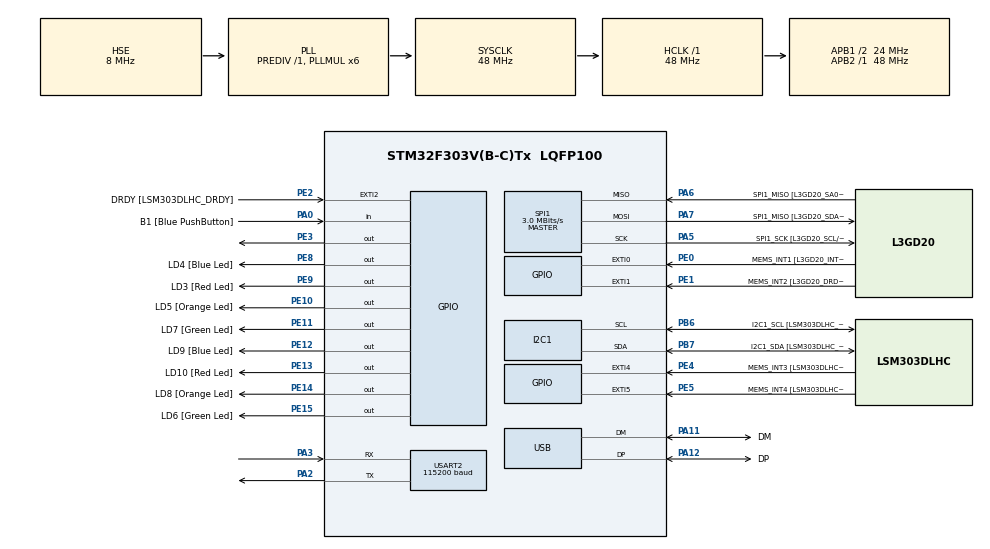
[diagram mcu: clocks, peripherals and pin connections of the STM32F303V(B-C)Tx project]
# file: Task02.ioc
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I2C1.Timing=0x2000090E
I2C1.Timing-I2C=0x2000090E
Mcu.Family=STM32F3
Mcu.Name=STM32F303V(B-C)Tx
Mcu.Package=LQFP100
NVIC.PriorityGroup=NVIC_PRIORITYGROUP_0
NVIC.SPI1_IRQn=true\:0\:0\:false\:false\:true\:true\:true\:true
PA0.GPIO_Label=B1 [Blue PushButton]
PA0.Signal=GPIO_Input
PA11.GPIO_Label=DM
PA11.Mode=Device
PA11.Signal=USB_DM
PA12.GPIO_Label=DP
PA12.Mode=Device
PA12.Signal=USB_DP
PA13.GPIO_Label=SWDIO
PA13.Mode=Serial_Wire
PA13.Signal=SYS_JTMS-SWDIO
PA14.GPIO_Label=SWCLK
PA14.Mode=Serial_Wire
PA14.Signal=SYS_JTCK-SWCLK
PA2.Mode=Asynchronous
PA2.Signal=USART2_TX
PA3.Mode=Asynchronous
PA3.Signal=USART2_RX
PA5.GPIO_Label=SPI1_SCK [L3GD20_SCL/SPC]
PA5.Mode=Full_Duplex_Master
PA5.Signal=SPI1_SCK
PA6.GPIO_Label=SPI1_MISO [L3GD20_SA0/SDO]
PA6.Mode=Full_Duplex_Master
PA6.Signal=SPI1_MISO
PA7.GPIO_Label=SPI1_MISO [L3GD20_SDA/SDI/SDO]
PA7.Mode=Full_Duplex_Master
PA7.Signal=SPI1_MOSI
PB3.GPIO_Label=SWO
PB3.Signal=SYS_JTDO-TRACESWO
PB6.GPIO_Label=I2C1_SCL [LSM303DLHC_SCL]
PB6.GPIO_Pu=GPIO_PULLUP
PB6.Mode=I2C
PB6.Signal=I2C1_SCL
PB7.GPIO_Label=I2C1_SDA [LSM303DLHC_SDA]
PB7.GPIO_Pu=GPIO_PULLUP
PB7.Mode=I2C
PB7.Signal=I2C1_SDA
PC14-OSC32_IN.GPIO_Label=OSC32_IN
PC14-OSC32_IN.Signal=RCC_OSC32_IN
PC15-OSC32_OUT.GPIO_Label=OSC32_OUT
PC15-OSC32_OUT.Signal=RCC_OSC32_OUT
PE0.GPIO_Label=MEMS_INT1 [L3GD20_INT1]
PE0.GPIO_ModeDefaultEXTI=GPIO_MODE_EVT_RISING
PE0.Signal=GPXTI0
PE1.GPIO_Label=MEMS_INT2 [L3GD20_DRDY/INT2]
PE1.GPIO_ModeDefaultEXTI=GPIO_MODE_EVT_RISING
PE1.Signal=GPXTI1
PE10.GPIO_Label=LD5 [Orange Led]
PE10.Signal=GPIO_Output
PE11.GPIO_Label=LD7 [Green Led]
PE11.Signal=GPIO_Output
PE12.GPIO_Label=LD9 [Blue Led]
PE12.Signal=GPIO_Output
PE13.GPIO_Label=LD10 [Red Led]
PE13.Signal=GPIO_Output
PE14.GPIO_Label=LD8 [Orange Led]
PE14.Signal=GPIO_Output
PE15.GPIO_Label=LD6 [Green Led]
PE15.Signal=GPIO_Output
PE2.GPIO_Label=DRDY [LSM303DLHC_DRDY]
PE2.GPIO_ModeDefaultEXTI=GPIO_MODE_EVT_RISING
PE2.Signal=GPXTI2
PE3.Signal=GPIO_Output
PE4.GPIO_Label=MEMS_INT3 [LSM303DLHC_INT1]
PE4.GPIO_ModeDefaultEXTI=GPIO_MODE_EVT_RISING
PE4.Signal=GPXTI4
PE5.GPIO_Label=MEMS_INT4 [LSM303DLHC_INT2]
PE5.GPIO_ModeDefaultEXTI=GPIO_MODE_EVT_RISING
PE5.Signal=GPXTI5
PE8.GPIO_Label=LD4 [Blue Led]
PE8.Signal=GPIO_Output
PE9.GPIO_Label=LD3 [Red Led]
PE9.Signal=GPIO_Output
PF0-OSC_IN.GPIO_Label=OSC_IN
PF0-OSC_IN.Mode=HSE-External-Clock-Source
PF0-OSC_IN.Signal=RCC_OSC_IN
PF1-OSC_OUT.GPIO_Label=OSC_OUT
PF1-OSC_OUT.Signal=RCC_OSC_OUT
ProjectManager.HeapSize=0x200
ProjectManager.StackSize=0x400
ProjectManager.TargetToolchain=CMake
RCC.AHBFreq_Value=48000000
RCC.APB1CLKDivider=RCC_HCLK_DIV2
RCC.APB1Freq_Value=24000000
RCC.APB1TimFreq_Value=48000000
RCC.APB2Freq_Value=48000000
RCC.APB2TimFreq_Value=48000000
RCC.CortexFreq_Value=48000000
RCC.HCLKFreq_Value=48000000
RCC.HSE_VALUE=8000000
RCC.HSI_VALUE=8000000
RCC.LSE_VALUE=32768
RCC.PLLMUL=RCC_PLL_MUL6
RCC.SYSCLKFreq_VALUE=48000000
RCC.SYSCLKSourceVirtual=RCC_SYSCLKSOURCE_PLLCLK
RCC.USBFreq_Value=48000000
SPI1.BaudRatePrescaler=SPI_BAUDRATEPRESCALER_16
SPI1.BaudRatePrescaler-Full_Duplex_Master=SPI_BAUDRATEPRESCALER_2
SPI1.CLKPhase=SPI_PHASE_2EDGE
SPI1.CLKPolarity=SPI_POLARITY_HIGH
SPI1.CalculateBaudRate=3.0 MBits/s
SPI1.CalculateBaudRate-Full_Duplex_Master=24.0 MBits/s
SPI1.DataSize=SPI_DATASIZE_8BIT
SPI1.Direction=SPI_DIRECTION_2LINES
SPI1.Mode=SPI_MODE_MASTER
SPI1.Mode-Full_Duplex_Master=SPI_MODE_MASTER
SPI1.VirtualType=VM_MASTER
USART2.BaudRate=115200
USART2.VirtualMode-Asynchronous=VM_ASYNC
board=STM32F3DISCOVERY

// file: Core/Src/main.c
/* USER CODE BEGIN Header */
/**
  ******************************************************************************
  * @file           : main.c
  * @brief          : Main program body
  ******************************************************************************
  * @attention
  *
  * Copyright (c) 2026 STMicroelectronics.
  * All rights reserved.
  *
  * This software is licensed under terms that can be found in the LICENSE file
  * in the root directory of this software component.
  * If no LICENSE file comes with this software, it is provided AS-IS.
  *
  ******************************************************************************
  */
/* USER CODE END Header */
#include "main.h"
#include <stdint.h>
#include <sys/_intsup.h>
#include <string.h>
#include "stm32f3xx_hal.h"
#include "stm32f3xx_hal_def.h"
#include "stm32f3xx_hal_gpio.h"
#include <stdio.h>

I2C_HandleTypeDef hi2c1;

SPI_HandleTypeDef hspi1;

UART_HandleTypeDef huart2;

PCD_HandleTypeDef hpcd_USB_FS;

void SystemClock_Config(void);
static void MX_GPIO_Init(void);
static void MX_I2C1_Init(void);
static void MX_SPI1_Init(void);
static void MX_USART2_UART_Init(void);
static void MX_USB_PCD_Init(void);

/* USER CODE BEGIN 0 */
uint8_t rxData;
uint8_t txData = 0;

void startSPITransaction(uint8_t data) {
    txData = data;
    HAL_GPIO_WritePin(GPIOE, GPIO_PIN_3, GPIO_PIN_RESET);  // Set CS low
    HAL_SPI_Transmit_IT(&hspi1, &txData, sizeof(txData));
}

# define CTRL_REG1 0x20
# define CTRL_REG1_VAL 0b00001111
void gyro_init ()
{
  uint8_t tx [2] = {CTRL_REG1 , CTRL_REG1_VAL};
  HAL_GPIO_WritePin (GPIOE , GPIO_PIN_3 , GPIO_PIN_RESET);
  HAL_SPI_Transmit (& hspi1 , tx , 2, HAL_MAX_DELAY);
  HAL_GPIO_WritePin (GPIOE , GPIO_PIN_3 , GPIO_PIN_SET  );
}

void HAL_SPI_RxCpltCallback(SPI_HandleTypeDef *hspi){
    if (hspi->Instance == SPI1) {
      HAL_GPIO_WritePin(GPIOE, GPIO_PIN_3, GPIO_PIN_SET);

      char temperature[20];
      sprintf(temperature, "%d\r\n", rxData);
      HAL_UART_Transmit(&huart2, (uint8_t*)temperature, strlen(temperature), HAL_MAX_DELAY);
    }
}
void HAL_SPI_TxCpltCallback(SPI_HandleTypeDef *hspi) {
    if (hspi->Instance == SPI1) {
        HAL_SPI_Receive_IT(&hspi1, &rxData, sizeof(rxData));
    }
}
/* USER CODE END 0 */

int main(void)
{

  /* MCU Configuration--------------------------------------------------------*/

  /* Reset of all peripherals, Initializes the Flash interface and the Systick. */
  HAL_Init();

  /* Configure the system clock */
  SystemClock_Config();

  /* Initialize all configured peripherals */
  MX_GPIO_Init();
  MX_I2C1_Init();
  MX_SPI1_Init();
  MX_USART2_UART_Init();
  MX_USB_PCD_Init();
  /* USER CODE BEGIN 2 */
  gyro_init();
  /* USER CODE END 2 */

  /* Infinite loop */
  while (1)
  {
    uint8_t dataToSend = 0x26 | 0x80;
    startSPITransaction(dataToSend);
    HAL_Delay(150);  // 100-200 ms interval
  }
}

void SystemClock_Config(void)
{
  RCC_OscInitTypeDef RCC_OscInitStruct = {0};
  RCC_ClkInitTypeDef RCC_ClkInitStruct = {0};
  RCC_PeriphCLKInitTypeDef PeriphClkInit = {0};

  /** Initializes the RCC Oscillators according to the specified parameters
  * in the RCC_OscInitTypeDef structure.
  */
  RCC_OscInitStruct.OscillatorType = RCC_OSCILLATORTYPE_HSI|RCC_OSCILLATORTYPE_HSE;
  RCC_OscInitStruct.HSEState = RCC_HSE_BYPASS;
  RCC_OscInitStruct.HSEPredivValue = RCC_HSE_PREDIV_DIV1;
  RCC_OscInitStruct.HSIState = RCC_HSI_ON;
  RCC_OscInitStruct.HSICalibrationValue = RCC_HSICALIBRATION_DEFAULT;
  RCC_OscInitStruct.PLL.PLLState = RCC_PLL_ON;
  RCC_OscInitStruct.PLL.PLLSource = RCC_PLLSOURCE_HSE;
  RCC_OscInitStruct.PLL.PLLMUL = RCC_PLL_MUL6;
  if (HAL_RCC_OscConfig(&RCC_OscInitStruct) != HAL_OK)
  {
    Error_Handler();
  }

  /** Initializes the CPU, AHB and APB buses clocks
  */
  RCC_ClkInitStruct.ClockType = RCC_CLOCKTYPE_HCLK|RCC_CLOCKTYPE_SYSCLK
                              |RCC_CLOCKTYPE_PCLK1|RCC_CLOCKTYPE_PCLK2;
  RCC_ClkInitStruct.SYSCLKSource = RCC_SYSCLKSOURCE_PLLCLK;
  RCC_ClkInitStruct.AHBCLKDivider = RCC_SYSCLK_DIV1;
  RCC_ClkInitStruct.APB1CLKDivider = RCC_HCLK_DIV2;
  RCC_ClkInitStruct.APB2CLKDivider = RCC_HCLK_DIV1;

  if (HAL_RCC_ClockConfig(&RCC_ClkInitStruct, FLASH_LATENCY_1) != HAL_OK)
  {
    Error_Handler();
  }
  PeriphClkInit.PeriphClockSelection = RCC_PERIPHCLK_USB|RCC_PERIPHCLK_USART2
                              |RCC_PERIPHCLK_I2C1;
  PeriphClkInit.Usart2ClockSelection = RCC_USART2CLKSOURCE_PCLK1;
  PeriphClkInit.I2c1ClockSelection = RCC_I2C1CLKSOURCE_HSI;
  PeriphClkInit.USBClockSelection = RCC_USBCLKSOURCE_PLL;
  if (HAL_RCCEx_PeriphCLKConfig(&PeriphClkInit) != HAL_OK)
  {
    Error_Handler();
  }
}

static void MX_I2C1_Init(void)
{

  hi2c1.Instance = I2C1;
  hi2c1.Init.Timing = 0x2000090E;
  hi2c1.Init.OwnAddress1 = 0;
  hi2c1.Init.AddressingMode = I2C_ADDRESSINGMODE_7BIT;
  hi2c1.Init.DualAddressMode = I2C_DUALADDRESS_DISABLE;
  hi2c1.Init.OwnAddress2 = 0;
  hi2c1.Init.OwnAddress2Masks = I2C_OA2_NOMASK;
  hi2c1.Init.GeneralCallMode = I2C_GENERALCALL_DISABLE;
  hi2c1.Init.NoStretchMode = I2C_NOSTRETCH_DISABLE;
  if (HAL_I2C_Init(&hi2c1) != HAL_OK)
  {
    Error_Handler();
  }

  /** Configure Analogue filter
  */
  if (HAL_I2CEx_ConfigAnalogFilter(&hi2c1, I2C_ANALOGFILTER_ENABLE) != HAL_OK)
  {
    Error_Handler();
  }

  /** Configure Digital filter
  */
  if (HAL_I2CEx_ConfigDigitalFilter(&hi2c1, 0) != HAL_OK)
  {
    Error_Handler();
  }

}

static void MX_SPI1_Init(void)
{

  /* SPI1 parameter configuration*/
  hspi1.Instance = SPI1;
  hspi1.Init.Mode = SPI_MODE_MASTER;
  hspi1.Init.Direction = SPI_DIRECTION_2LINES;
  hspi1.Init.DataSize = SPI_DATASIZE_8BIT;
  hspi1.Init.CLKPolarity = SPI_POLARITY_HIGH;
  hspi1.Init.CLKPhase = SPI_PHASE_2EDGE;
  hspi1.Init.NSS = SPI_NSS_SOFT;
  hspi1.Init.BaudRatePrescaler = SPI_BAUDRATEPRESCALER_16;
  hspi1.Init.FirstBit = SPI_FIRSTBIT_MSB;
  hspi1.Init.TIMode = SPI_TIMODE_DISABLE;
  hspi1.Init.CRCCalculation = SPI_CRCCALCULATION_DISABLE;
  hspi1.Init.CRCPolynomial = 7;
  hspi1.Init.CRCLength = SPI_CRC_LENGTH_DATASIZE;
  hspi1.Init.NSSPMode = SPI_NSS_PULSE_DISABLE;
  if (HAL_SPI_Init(&hspi1) != HAL_OK)
  {
    Error_Handler();
  }

}

static void MX_USART2_UART_Init(void)
{

  huart2.Instance = USART2;
  huart2.Init.BaudRate = 115200;
  huart2.Init.WordLength = UART_WORDLENGTH_8B;
  huart2.Init.StopBits = UART_STOPBITS_1;
  huart2.Init.Parity = UART_PARITY_NONE;
  huart2.Init.Mode = UART_MODE_TX_RX;
  huart2.Init.HwFlowCtl = UART_HWCONTROL_NONE;
  huart2.Init.OverSampling = UART_OVERSAMPLING_16;
  huart2.Init.OneBitSampling = UART_ONE_BIT_SAMPLE_DISABLE;
  huart2.AdvancedInit.AdvFeatureInit = UART_ADVFEATURE_NO_INIT;
  if (HAL_UART_Init(&huart2) != HAL_OK)
  {
    Error_Handler();
  }

}

static void MX_USB_PCD_Init(void)
{

  hpcd_USB_FS.Instance = USB;
  hpcd_USB_FS.Init.dev_endpoints = 8;
  hpcd_USB_FS.Init.speed = PCD_SPEED_FULL;
  hpcd_USB_FS.Init.phy_itface = PCD_PHY_EMBEDDED;
  hpcd_USB_FS.Init.low_power_enable = DISABLE;
  hpcd_USB_FS.Init.battery_charging_enable = DISABLE;
  if (HAL_PCD_Init(&hpcd_USB_FS) != HAL_OK)
  {
    Error_Handler();
  }

}

static void MX_GPIO_Init(void)
{
  GPIO_InitTypeDef GPIO_InitStruct = {0};

  /* GPIO Ports Clock Enable */
  __HAL_RCC_GPIOE_CLK_ENABLE();
  __HAL_RCC_GPIOC_CLK_ENABLE();
  __HAL_RCC_GPIOF_CLK_ENABLE();
  __HAL_RCC_GPIOA_CLK_ENABLE();
  __HAL_RCC_GPIOB_CLK_ENABLE();

  /*Configure GPIO pin Output Level */
  HAL_GPIO_WritePin(GPIOE, GPIO_PIN_3|LD4_Pin|LD3_Pin|LD5_Pin
                          |LD7_Pin|LD9_Pin|LD10_Pin|LD8_Pin
                          |LD6_Pin, GPIO_PIN_RESET);

  /*Configure GPIO pins : DRDY_Pin MEMS_INT3_Pin MEMS_INT4_Pin MEMS_INT1_Pin
                           MEMS_INT2_Pin */
  GPIO_InitStruct.Pin = DRDY_Pin|MEMS_INT3_Pin|MEMS_INT4_Pin|MEMS_INT1_Pin
                          |MEMS_INT2_Pin;
  GPIO_InitStruct.Mode = GPIO_MODE_EVT_RISING;
  GPIO_InitStruct.Pull = GPIO_NOPULL;
  HAL_GPIO_Init(GPIOE, &GPIO_InitStruct);

  /*Configure GPIO pins : PE3 LD4_Pin LD3_Pin LD5_Pin
                           LD7_Pin LD9_Pin LD10_Pin LD8_Pin
                           LD6_Pin */
  GPIO_InitStruct.Pin = GPIO_PIN_3|LD4_Pin|LD3_Pin|LD5_Pin
                          |LD7_Pin|LD9_Pin|LD10_Pin|LD8_Pin
                          |LD6_Pin;
  GPIO_InitStruct.Mode = GPIO_MODE_OUTPUT_PP;
  GPIO_InitStruct.Pull = GPIO_NOPULL;
  GPIO_InitStruct.Speed = GPIO_SPEED_FREQ_LOW;
  HAL_GPIO_Init(GPIOE, &GPIO_InitStruct);

  /*Configure GPIO pin : B1_Pin */
  GPIO_InitStruct.Pin = B1_Pin;
  GPIO_InitStruct.Mode = GPIO_MODE_INPUT;
  GPIO_InitStruct.Pull = GPIO_NOPULL;
  HAL_GPIO_Init(B1_GPIO_Port, &GPIO_InitStruct);

}

void Error_Handler(void)
{
  __disable_irq();
  while (1)
  {
  }
}
